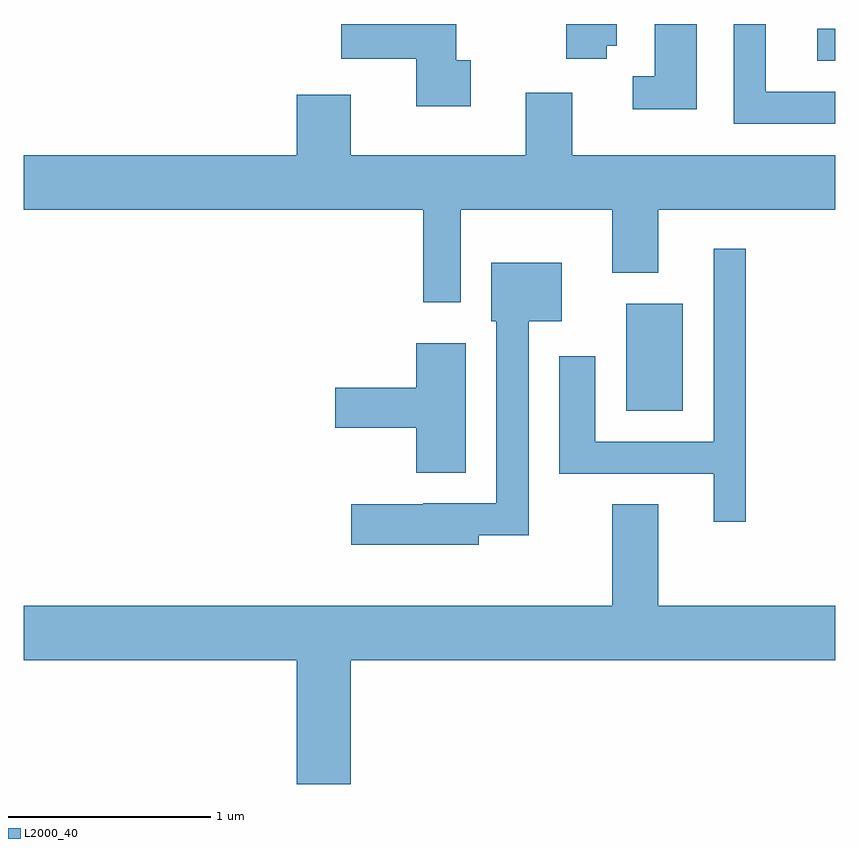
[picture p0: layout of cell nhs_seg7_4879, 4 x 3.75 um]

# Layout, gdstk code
import gdstk
lib = gdstk.Library(unit=1e-6, precision=1e-09)
def R(c, l, rs):  # rectangles x0, y0, x1, y1
    for r in rs: c.add(gdstk.rectangle(r[:2], r[2:], *l))
def P(c, l, *ps):  # polygons
    for p in ps: c.add(gdstk.Polygon(p, *l))
L2000_40 = (2000, 40)

nhs_seg7_4879 = lib.new_cell('nhs_seg7_4879')
R(nhs_seg7_4879, L2000_40, [(336.581,1804.346,336.859,1804.874), (337.523,1806.071,337.611,1806.229)])
P(nhs_seg7_4879, L2000_40, [(336.929,1806.252),(336.721,1806.252),(336.721,1805.994),(336.613,1805.994),(336.613,1805.831),(336.929,1805.831)],
  [(337.611,1805.919),(337.269,1805.919),(337.269,1806.252),(337.111,1806.252),(337.111,1805.761),(337.611,1805.761)],
  [(335.814,1806.074),(335.744,1806.074),(335.744,1806.252),(335.176,1806.252),(335.176,1806.081),(335.546,1806.081),(335.546,1805.846),(335.814,1805.846)],
  [(336.484,1806.146),(336.534,1806.146),(336.534,1806.252),(336.286,1806.252),(336.286,1806.081),(336.484,1806.081)],
  [(335.764,1805.336),(336.511,1805.336),(336.511,1805.026),(336.739,1805.026),(336.739,1805.336),(337.611,1805.336),(337.611,1805.604),(336.314,1805.604),(336.314,1805.914),(336.086,1805.914),(336.086,1805.604),(335.224,1805.604),(335.224,1805.904),(334.956,1805.904),(334.956,1805.604),(333.611,1805.604),(333.611,1805.336),(335.581,1805.336),(335.581,1804.881),(335.764,1804.881)],
  [(337.169,1805.143),(337.011,1805.143),(337.011,1804.194),(336.429,1804.194),(336.429,1804.614),(336.251,1804.614),(336.251,1804.036),(337.011,1804.036),(337.011,1803.798),(337.169,1803.798)],
  [(335.854,1803.731),(336.099,1803.731),(336.099,1804.786),(336.264,1804.786),(336.264,1805.074),(335.916,1805.074),(335.916,1804.786),(335.941,1804.786),(335.941,1803.889),(335.58,1803.889),(335.58,1803.884),(335.226,1803.884),(335.226,1803.686),(335.854,1803.686)],
  [(335.789,1804.679),(335.546,1804.679),(335.546,1804.459),(335.146,1804.459),(335.146,1804.261),(335.546,1804.261),(335.546,1804.041),(335.789,1804.041)],
  [(335.224,1803.116),(337.611,1803.116),(337.611,1803.384),(336.739,1803.384),(336.739,1803.884),(336.511,1803.884),(336.511,1803.384),(333.611,1803.384),(333.611,1803.116),(334.956,1803.116),(334.956,1802.506),(335.224,1802.506)])

lib.write_gds('nhs_seg7_4879.gds')
